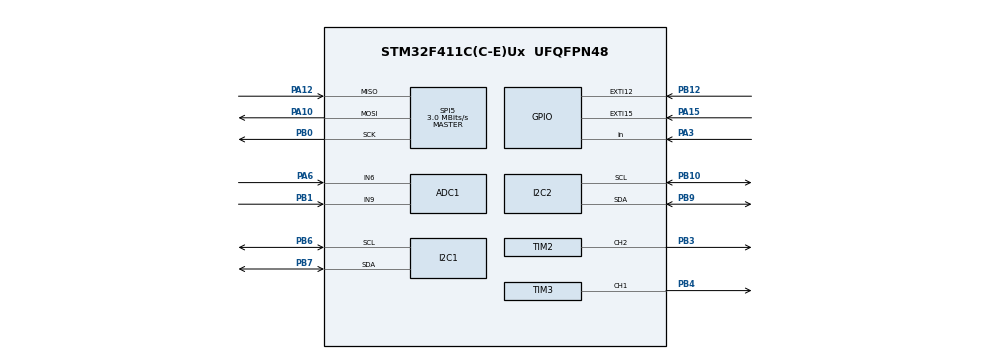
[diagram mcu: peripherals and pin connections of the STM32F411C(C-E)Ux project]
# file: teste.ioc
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ADC1.Channel-0\#ChannelRegularConversion=ADC_CHANNEL_9
ADC1.NbrOfConversionFlag=1
ADC1.Rank-0\#ChannelRegularConversion=1
ADC1.SamplingTime-0\#ChannelRegularConversion=ADC_SAMPLETIME_3CYCLES
ADC1.master=1
Mcu.Family=STM32F4
Mcu.Name=STM32F411C(C-E)Ux
Mcu.Package=UFQFPN48
NVIC.PriorityGroup=NVIC_PRIORITYGROUP_4
PA10.Mode=Full_Duplex_Master
PA10.Signal=SPI5_MOSI
PA12.Mode=Full_Duplex_Master
PA12.Signal=SPI5_MISO
PA13.Mode=Serial_Wire
PA13.Signal=SYS_JTMS-SWDIO
PA14.Mode=Serial_Wire
PA14.Signal=SYS_JTCK-SWCLK
PA15.Signal=GPXTI15
PA3.Signal=GPIO_Input
PA6.Signal=ADCx_IN6
PB0.Mode=Full_Duplex_Master
PB0.Signal=SPI5_SCK
PB1.Signal=ADCx_IN9
PB10.Mode=I2C
PB10.Signal=I2C2_SCL
PB12.Signal=GPXTI12
PB3.Signal=S_TIM2_CH2
PB4.Signal=S_TIM3_CH1
PB6.Mode=I2C
PB6.Signal=I2C1_SCL
PB7.Mode=I2C
PB7.Signal=I2C1_SDA
PB9.Mode=I2C
PB9.Signal=I2C2_SDA
PH0\ -\ OSC_IN.Mode=HSE-External-Oscillator
PH0\ -\ OSC_IN.Signal=RCC_OSC_IN
PH1\ -\ OSC_OUT.Mode=HSE-External-Oscillator
PH1\ -\ OSC_OUT.Signal=RCC_OSC_OUT
ProjectManager.HeapSize=0x200
ProjectManager.StackSize=0x400
ProjectManager.TargetToolchain=STM32CubeIDE
RCC.48MHZClocksFreq_Value=48000000
RCC.AHBCLKDivider=RCC_SYSCLK_DIV2
RCC.AHBFreq_Value=48000000
RCC.APB1Freq_Value=48000000
RCC.APB1TimFreq_Value=48000000
RCC.APB2Freq_Value=48000000
RCC.APB2TimFreq_Value=48000000
RCC.CortexFreq_Value=48000000
RCC.HCLKFreq_Value=48000000
RCC.HSE_VALUE=25000000
RCC.HSI_VALUE=16000000
RCC.LSE_VALUE=32768
RCC.PLLM=25
RCC.PLLSourceVirtual=RCC_PLLSOURCE_HSE
RCC.SYSCLKFreq_VALUE=96000000
RCC.SYSCLKSource=RCC_SYSCLKSOURCE_PLLCLK
RCC.VCOOutputFreq_Value=192000000
SH.ADCx_IN6.0=ADC1_IN6,IN6
SH.ADCx_IN9.0=ADC1_IN9,IN9
SH.S_TIM2_CH2.0=TIM2_CH2,PWM Generation2 CH2
SH.S_TIM3_CH1.0=TIM3_CH1,PWM Generation1 CH1
SPI5.BaudRatePrescaler=SPI_BAUDRATEPRESCALER_16
SPI5.CalculateBaudRate=3.0 MBits/s
SPI5.Direction=SPI_DIRECTION_2LINES
SPI5.Mode=SPI_MODE_MASTER
SPI5.VirtualType=VM_MASTER
TIM2.Channel-PWM\ Generation2\ CH2=TIM_CHANNEL_2
TIM2.Period=99
TIM2.Prescaler=4799
TIM3.Channel-PWM\ Generation1\ CH1=TIM_CHANNEL_1
TIM3.Period=99
TIM3.Prescaler=4799
VP_TIM2_VS_ClockSourceINT.Mode=Internal
VP_TIM3_VS_ClockSourceINT.Mode=Internal
board=custom

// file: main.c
/* USER CODE BEGIN Header */
/**
 ==========================================================================

		Projeto 2

		Disciplina: EA801- Laboratório Projetos Sistemas Embarcados

		Título do projeto:
		SISTEMA DE CONTROLE PWM PARA ILUMINAÇÃO
        LED E CLIMATIZAÇÃO EM AGRICULTURA INDOOR

		Alunos (RA):
		Davi Alves Feitosa de Souza (256447)
		Gabriel Martins De Andrade (216337)

		Docentes: Antônio Augusto Fasolo Quevedo

		Data: 16 de Maio, 2025

==========================================================================
  */
/* USER CODE END Header */
#include "main.h"  // Arquivo principal de cabeçalho do projeto

/* USER CODE BEGIN Includes */
#include <stdio.h>           // Biblioteca padrão para funções de entrada/saída
#include <string.h>          // Biblioteca padrão para manipulação de strings
#include "ssd1306.h"         // Biblioteca para controle do display OLED SSD1306
#include "ssd1306_fonts.h"   // Fontes utilizadas no display OLED
#include "stdio.h"           // Repetição desnecessária, mas sem prejuízo funcional
#include "ssd1306_conf.h"    // Configurações específicas do SSD1306
#include "core_cm4.h"        // Instruções de controle para ARM Cortex-M4
#include "stm32f4xx_hal_dma.h" // Biblioteca da HAL para uso de DMA com STM32F4
#include "ws2812_spi.h"      // Biblioteca personalizada para controle dos LEDs WS2812 via SPI
/* USER CODE END Includes */

/* USER CODE BEGIN PTD */
// Tipos definidos pelo usuário (nenhum declarado neste trecho)
/* USER CODE END PTD */

/* USER CODE BEGIN PD */
#define NUM_LEDS     25   // Número total de LEDs WS2812 na matriz
#define DEBOUNCE_MS  5    // Tempo de debounce para botões, em milissegundos
/* USER CODE END PD */

/* USER CODE BEGIN PM */
// Macros definidos pelo usuário (nenhum declarado neste trecho)
/* USER CODE END PM */

ADC_HandleTypeDef hadc1;    // Manipulador do ADC1

I2C_HandleTypeDef hi2c1;    // Manipulador da interface I2C1 (usada pelo display OLED)
I2C_HandleTypeDef hi2c2;    // Manipulador da interface I2C2 (possível uso para sensor)

SPI_HandleTypeDef hspi5;    // Manipulador da interface SPI5 (usada com WS2812)

TIM_HandleTypeDef htim2;    // Manipulador do temporizador 2
TIM_HandleTypeDef htim3;    // Manipulador do temporizador 3

/* USER CODE BEGIN PV */

// Buffer para armazenar as últimas leituras do sensor SHT-20
static float sht_temp, sht_hum;

// Matriz de cores dos LEDs WS2812, no formato GRB
static uint8_t ws2812_rgb[ NUM_LEDS ][3];

// Níveis de intensidade luminosa em % do LED mapeado em: 0%, 10%, 35%, 70%, 100%)
static const uint8_t intensity_levels[5] = { 0, 10, 35, 70, 100 };

static const uint8_t compositions[4][3] = {
  {30, 40, 30},	// White     = 40%R, 30%G, 30%B
  { 0, 55, 45},	// Pink      = 55%R,  0%G, 45%B
  {10, 88,  2},	// Red+Green = 88%R, 10%G,  2%B
  { 1,  1,  1} 	// Full spectrum (todos iguais) = 100%R, 100%G, 100%B
};

static uint8_t intensity_idx   = 2;  // Índice atual da intensidade (35%)
static uint8_t composition_idx = 3;  // Índice atual da composição (Full)

// Flags para indicar se os botões A e B foram pressionados
static uint8_t btnA_pressed = 0;
static uint8_t btnB_pressed = 0;

// Variáveis para leitura com debounce do botão A
static GPIO_PinState lastRawA = GPIO_PIN_RESET;
static uint32_t      lastDebounceTimeA = 0;

// Variáveis para leitura com debounce do botão B
static GPIO_PinState lastRawB = GPIO_PIN_RESET;
static uint32_t      lastDebounceTimeB = 0;

// Estado da interface de usuário (UI)
static uint8_t display_page    = 0;        // Página atual do display (0 = Home, 1 = Debug)
static GPIO_PinState lastRawSw = GPIO_PIN_RESET;
static uint32_t      lastDebounceTimeSw = 0;
static uint8_t       sw_pressed  = 0;      // Flag para pressionamento do joystick/switch

// Offsets para simulação de temperatura e umidade
static int8_t temp_offset  = 0;            // Offset da temperatura (-25 a +25)
static int8_t hum_offset   = 0;            // Offset da umidade (-50 a +50)

// Rótulos de texto para os níveis de intensidade exibidos no display
static const char *intensity_labels[5] = {
  "Desligado", "Minimo", "Medio", "Alto", "Maximo"
};

// Rótulos de texto para as composições de cor exibidas no display
static const char *composition_labels[4] = {
  "White", "Pink", "Red+Green", "Full"
};

/* USER CODE END PV */

/* USER CODE BEGIN PFP */
static void MX_I2C1_Init(void);         // Inicialização do barramento I2C1
void SystemClock_Config(void);          // Configuração do clock do sistema
static void MX_GPIO_Init(void);         // Inicialização dos pinos GPIO
static void MX_ADC1_Init(void);         // Inicialização do conversor analógico-digital
static void MX_TIM3_Init(void);         // Inicialização do timer 3
static void MX_I2C2_Init(void);         // Inicialização do barramento I2C2
static void MX_SPI5_Init(void);         // Inicialização da interface SPI5
static void MX_TIM2_Init(void);         // Inicialização do timer 2
static void check_switch(void);         // Função para verificar estado do botão joystick
static void update_offsets(void);       // Atualiza os offsets de temperatura e umidade
static void display_home(void);         // Atualiza a interface da página Home
static void update_matrix(void);        // Atualiza a matriz de LEDs com base nos índices ativos
/* USER CODE END PFP */

/* USER CODE BEGIN 0 */

/* Função ler_adc() ----------------------------------------------------------------------

Objetivo: Verifica o estado dos botões A (PB12) e B (PA15), aplicando
          debounce e atualizando índices globais conforme cliques.

Como funciona:
 	1. Cria e configura a estrutura sConfig com o canal desejado.
 	2. Define o tempo de amostragem (15 ciclos de clock).
 	3. Inicia a conversão ADC.
 	4. Aguarda a conversão ser concluída.
 	5. Lê o valor digital convertido.
 	6. Para a conversão e retorna o valor lido.

Uso: Lê sensores analógicos (joystick, potenciômetro etc.)

 -----------------------------------------------------------------------------------------*/

uint32_t ler_adc(uint32_t canal)
{
    ADC_ChannelConfTypeDef sConfig = {0};  // Estrutura de configuração do canal ADC
    sConfig.Channel = canal;               // Seleciona o canal desejado
    sConfig.Rank = 1;                      // Define a prioridade de conversão
    sConfig.SamplingTime = ADC_SAMPLETIME_15CYCLES; // Tempo de amostragem do ADC
    HAL_ADC_ConfigChannel(&hadc1, &sConfig); // Aplica a configuração no ADC

    HAL_ADC_Start(&hadc1);                  // Inicia a conversão
    HAL_ADC_PollForConversion(&hadc1, HAL_MAX_DELAY); // Espera a conversão terminar (sem timeout)
    uint32_t valor = HAL_ADC_GetValue(&hadc1); // Lê o valor convertido
    HAL_ADC_Stop(&hadc1);                   // Para o ADC

    return valor;                           // Retorna o valor lido
}

/* Função set_fan_duty() ------------------------------------------------------------------

Objetivo: Define o valor do duty cycle (ciclo de trabalho) para um canal
		  PWM de um timer, limitando o valor a 99%.

Como funciona:
 	1. Garante que o valor de duty não ultrapasse 99.
 	2. Usa a macro __HAL_TIM_SET_COMPARE() para ajustar o sinal PWM no canal indicado.

Uso: Controla a velocidade de uma ventoinha ou motor com PWM.

 -----------------------------------------------------------------------------------------*/

void set_fan_duty(TIM_HandleTypeDef *htim, uint32_t channel, uint8_t duty)
{
    if (duty > 99) duty = 99;  // Limita o duty cycle a 99%
    __HAL_TIM_SET_COMPARE(htim, channel, duty);  // Define o duty cycle no canal PWM
}

/* Função atualizar_ventoinhas() ---------------------------------------------------------

Objetivo: Atualiza a velocidade das ventoinhas com base nas
 	 	  leituras dos eixos X e Y de um joystick.

Como funciona:
 	1. Lê os valores analógicos dos canais ADC associados ao joystick.
 	2. Define uma margem de tolerância para evitar oscilações em torno do centro.
	3. Para cada eixo: Se o valor estiver acima da margem, diminui o duty
	   (e, portanto, reduz a velocidade da ventoinha). Se abaixo, aumenta o duty.
	4. Chama set_fan_duty() para aplicar a mudança.

Uso: Controla duas ventoinhas conforme a inclinação
	 do joystick (X → ventoinha 1; Y → ventoinha 2).

 -----------------------------------------------------------------------------------------*/

void atualizar_ventoinhas(uint8_t *duty_x, uint8_t *duty_y)
{
    int MARGEM = 450;  // Margem de tolerância para movimentação do joystick

    uint32_t adc_x = ler_adc(ADC_CHANNEL_6);  // Lê valor do eixo X (PA6)
    uint32_t adc_y = ler_adc(ADC_CHANNEL_9);  // Lê valor do eixo Y (PB1)

    // Controle do eixo X → PB0 (TIM3 CH3)
    if (adc_x > (2048 + MARGEM) && *duty_x > 0)
    {
        (*duty_x)--;  // Diminui o duty se o joystick for para a direita
        set_fan_duty(&htim2, TIM_CHANNEL_2, *duty_x);
        HAL_Delay(2); // Pequeno delay para estabilidade
    }
    else if (adc_x < (2048 - MARGEM) && *duty_x < 99)
    {
        (*duty_x)++;  // Aumenta o duty se o joystick for para a esquerda
        set_fan_duty(&htim2, TIM_CHANNEL_2, *duty_x);
        HAL_Delay(2);
    }

    // Controle do eixo Y → PB4 (TIM3 CH1)
    if (adc_y > (2048 + MARGEM) && *duty_y > 0)
    {
        (*duty_y)--;  // Diminui o duty se o joystick for para cima
        set_fan_duty(&htim3, TIM_CHANNEL_1, *duty_y);
        HAL_Delay(2);
    }
    else if (adc_y < (2048 - MARGEM) && *duty_y < 99)
    {
        (*duty_y)++;  // Aumenta o duty se o joystick for para baixo
        set_fan_duty(&htim3, TIM_CHANNEL_1, *duty_y);
        HAL_Delay(2);
    }
}

/* Função atualizar_display_completo() ---------------------------------------------------------

Objetivo: Atualiza todas as informações mostradas no display OLED (SSD1306).

Como funciona:
 	1. Limpa a tela (ssd1306_Fill(Black)).
 	2. Escreve:
 		2.1 Percentual de PWM das ventoinhas (linha 0);
 		2.2 Estados dos botões A e B (linha 12);
 		2.3 Valores RGB da matriz de LEDs (linha 24);
 		2.4 Índices de composição e intensidade de cor (linha 36);
 		2.5 Temperatura e umidade do sensor SHT20 (linha 48).
	3. Atualiza o display

Uso: Exibe status em tempo real dos atuadores e sensores no sistema.

 -----------------------------------------------------------------------------------------*/

static void atualizar_display_completo(uint8_t duty1,
                                       uint8_t duty2,
                                       uint8_t btnA,
                                       uint8_t btnB,
                                       uint8_t G,
                                       uint8_t R,
                                       uint8_t B)
{
    char buf[32];
    ssd1306_Fill(Black);  // Limpa a tela do display

    // Exibe porcentagens das ventoinhas (duty1 e duty2)
    uint8_t pct1 = (duty1 * 100) / 99;
    uint8_t pct2 = (duty2 * 100) / 99;
    snprintf(buf, sizeof(buf), "V1:%3d%% V2:%3d%%", pct1, pct2);
    ssd1306_SetCursor(0, 0);
    ssd1306_WriteString(buf, Font_7x10, White);

    // Exibe estados dos botões A e B
    snprintf(buf, sizeof(buf), "A/B:%d/%d", btnA, btnB);
    ssd1306_SetCursor(0, 12);
    ssd1306_WriteString(buf, Font_7x10, White);

    // Exibe valores RGB atuais
    snprintf(buf, sizeof(buf), "GRB:[%3d,%3d,%3d]", G, R, B);
    ssd1306_SetCursor(0, 24);
    ssd1306_WriteString(buf, Font_7x10, White);

    // Exibe índices de composição e intensidade
    snprintf(buf, sizeof(buf), "C:%u I:%u", composition_idx, intensity_idx);
    ssd1306_SetCursor(0, 36);
    ssd1306_WriteString(buf, Font_7x10, White);

    // Exibe temperatura e umidade do sensor SHT-20
    snprintf(buf, sizeof(buf),
             "S T:%2.1fC H:%2.1f%%",
             sht_temp, sht_hum);
    ssd1306_SetCursor(0, 48);
    ssd1306_WriteString(buf, Font_7x10, White);

    ssd1306_UpdateScreen();  // Atualiza o display com o novo conteúdo
}

/* Função check_buttons() ---------------------------------------------------------

Objetivo: Verifica o estado dos botões A (PB12) e B (PA15),
 	 	  aplicando debounce e atualizando índices globais conforme cliques.

Como funciona:
 	1. Lê o estado atual dos botões.
 	2. Verifica se houve mudança (para aplicar debounce).
 	3. Se o botão A foi pressionado: Incrementa o índice de intensidade e atualiza a matriz
 	4. Se o botão B foi pressionado: Incrementa o índice de composição e atualiza a matriz

Uso: Muda configurações da matriz RGB com os botões físicos.

 -----------------------------------------------------------------------------------------*/

static void check_buttons(void)
{
    uint32_t now = HAL_GetTick();  // Obtém o tempo atual do sistema

    // --- BOTÃO A ---
    GPIO_PinState rawA = HAL_GPIO_ReadPin(GPIOB, GPIO_PIN_12);  // Lê o estado do botão A
    if (rawA != lastRawA) {  // Detecta mudança de estado (possível bounce)
        lastDebounceTimeA = now;
        lastRawA = rawA;
    }
    if ((now - lastDebounceTimeA) > DEBOUNCE_MS) {  // Verifica se passou tempo suficiente para considerar o estado estável
        if (rawA == GPIO_PIN_RESET && !btnA_pressed) {
            btnA_pressed = 1;
            intensity_idx = (intensity_idx + 1) % 5;  // Muda índice de intensidade
            update_matrix();  // Atualiza matriz de LED
        } else if (rawA == GPIO_PIN_SET) {
            btnA_pressed = 0;  // Reseta flag de botão solto
        }
    }

    // --- BOTÃO B ---
    GPIO_PinState rawB = HAL_GPIO_ReadPin(GPIOA, GPIO_PIN_15);  // Lê o estado do botão B
    if (rawB != lastRawB) {
        lastDebounceTimeB = now;
        lastRawB = rawB;
    }
    if ((now - lastDebounceTimeB) > DEBOUNCE_MS) {
        if (rawB == GPIO_PIN_RESET && !btnB_pressed) {
            btnB_pressed = 1;
            composition_idx = (composition_idx + 1) % 4;  // Muda índice de composição
            update_matrix();
        } else if (rawB == GPIO_PIN_SET) {
            btnB_pressed = 0;
        }
    }
}

/* Função update_matrix() ---------------------------------------------------------

Objetivo: Atualizar a matriz de LEDs WS2812 com a cor correta e intensidade adequada

Como funciona:
 	1. Reinicializa o hardware da fita de LEDs, preparando o sistema para enviar dados novos
 	2. Calcula a intensidade da luz com base no índice atual de intensidade
 	3. Converte um valor percentual em um valor entre 0 e 255 para controle da luminosidade
 	4. Obtém a composição de cores selecionada (valores de verde, vermelho e azul)
 	5. Determina o maior valor para normalizar as componentes de cor proporcionalmente
 	   garantindo que a intensidade máxima seja mantida
 	6. Atualiza o array que representa as cores de cada LED na fita e configura
 	   todos os LEDs a mesma cor com os valores normalizados de G, R e B.

Uso: Escreve todos os pixels com a cor definida e envia os dados via SPI para a fita de LEDs,
 	 atualizando a iluminação visualmente.

 -----------------------------------------------------------------------------------------*/

static void update_matrix(void)
{
    // Inicializa o hardware da fita de LEDs WS2812 (reset + preparação)
    ws2812_init();

    // Calcula a intensidade da luz convertendo percentual em valor 0-255
    uint8_t I = (intensity_levels[intensity_idx] * 255 + 50) / 100;

    // Pega o ponteiro para o array da composição atual de cores (G, R, B)
    const uint8_t *comp = compositions[composition_idx];

    // Determina o maior valor da composição para normalizar as cores
    uint8_t max_pct = comp[0];
    if (comp[1] > max_pct) max_pct = comp[1];
    if (comp[2] > max_pct) max_pct = comp[2];

    // Normaliza a cor verde proporcionalmente à intensidade e ao maior valor
    uint8_t G = (uint32_t)comp[0] * I / max_pct;
    // Normaliza a cor vermelha proporcionalmente à intensidade e ao maior valor
    uint8_t R = (uint32_t)comp[1] * I / max_pct;
    // Normaliza a cor azul proporcionalmente à intensidade e ao maior valor
    uint8_t B = (uint32_t)comp[2] * I / max_pct;

    // Atualiza todos os LEDs no array de cor para a composição calculada
    for (int i = 0; i < NUM_LEDS; i++) {
        ws2812_rgb[i][0] = G; // verde
        ws2812_rgb[i][1] = R; // vermelho
        ws2812_rgb[i][2] = B; // azul
    }

    // Envia a cor para todos os pixels da fita via SPI
    ws2812_pixel_all(R, G, B);

    // Dispara o envio dos dados para os LEDs
    ws2812_send_spi();
}

/* Função check_switch() ---------------------------------------------------------

Objetivo: Implementa o debouncing do botão conectado ao pino PA3, para evitar
 	 	  leituras falsas devido ao ruído elétrico causado pelo contato mecânico do botão.
 	 	  Além disso ela troca de página do display

Como funciona:
 	1. Captura o tempo atual em milissegundos e lê o estado do pino do botão
 	2. Compara com o último estado lido para detectar mudanças
 	3. Caso haja uma mudança no estado do botão, ela atualiza o tempo do
 	   último evento de mudança para controlar o atraso necessário para o debouncing
 	4. Se o tempo decorrido desde a última mudança ultrapassa o intervalo de debounce definido:
 		4.1 Verifica se o botão foi pressionado ou solto
 		4.2 Alterna a página do display quando o botão é detectado como pressionado.

Uso: Controla uma flag que indica se o botão está pressionado
     para evitar múltiplas alternâncias da tela causadas por leituras repetidas.

 -----------------------------------------------------------------------------------------*/

static void check_switch(void)
{
    // Obtém o tempo atual em ms do sistema
    uint32_t now = HAL_GetTick();

    // Lê o estado atual do pino do botão
    GPIO_PinState raw = HAL_GPIO_ReadPin(GPIOA, GPIO_PIN_3);

    // Detecta mudança no estado do botão
    if (raw != lastRawSw) {
        // Atualiza o tempo da última mudança para controle de debounce
        lastDebounceTimeSw = now;
        // Atualiza o último estado bruto lido
        lastRawSw = raw;
    }

    // Verifica se passou o tempo de debounce desde a última mudança
    if ((now - lastDebounceTimeSw) > DEBOUNCE_MS) {
        // Se botão foi pressionado (nível baixo) e antes não estava pressionado
        if (raw == GPIO_PIN_RESET && !sw_pressed) {
            // Marca botão como pressionado
            sw_pressed = 1;
            // Alterna a página do display (de 0 para 1 ou vice-versa)
            display_page = 1 - display_page;
        }
        // Se botão está solto (nível alto), reseta flag de pressionado
        else if (raw == GPIO_PIN_SET) {
            sw_pressed = 0;
        }
    }
}

/* Função update_offsets() ---------------------------------------------------------

Objetivo: Ajusta os offsets de temperatura e umidade com base no movimento do joystick

Como funciona:
 	1. Define os valores médios e zona morta (deadzone) para os eixos X e Y do joystick,
 	   para evitar ajustes constantes com pequenas variações
 	2. No eixo Y, referente ao ajuste da temperatura:
 	 	2.1 Lê o valor ADC e, se estiver acima ou abaixo da zona morta, incrementa
 	 	  	ou decrementa o offset da temperatura,  respeitando limites mínimos e
 	 	  	máximos para evitar valores fora da faixa
 	 	2.2 Calcula a temperatura final ajustada somando o offset à leitura do sensor,
 	 	    limitando seu valor entre 15°C e 40°C, para evitar leituras inválidas.
 	3. No eixo X, referente ao ajuste da umidade:
 		3.1  Lê o valor ADC, ajusta o offset dentro de limites, e calcula a umidade final
 		3.2  A umidade é limitada para ficar entre um duty cycle de 0% e 100%

Uso: Mapeia a temperatura e umidade final para um valor de duty cycle entre 0 e 100
 	 para controlar a velocidade da ventoinha associada ao canal PWM.

 -----------------------------------------------------------------------------------------*/

static void update_offsets(void)
{
    const int MID      = 2048;  // Valor central do ADC para joystick (12 bits)
    const int DEADZONE = 300;   // Zona morta para evitar pequenos ajustes

    // --- Temperatura (eixo Y - ADC_CHANNEL_9) ---
    // Lê valor do ADC no eixo Y do joystick
    uint32_t ay = ler_adc(ADC_CHANNEL_9);

    // Se inclinação para cima (acima da zona morta) e offset maior que limite inferior
    if (ay > (MID + DEADZONE) && temp_offset > -25) {
        temp_offset--; // Decrementa offset temperatura
    }
    // Se inclinação para baixo (abaixo da zona morta) e offset menor que limite superior
    else if (ay < (MID - DEADZONE) && temp_offset < +25) {
        temp_offset++; // Incrementa offset temperatura
    }

    // Garante que o offset fique dentro do intervalo permitido [-25, +25]
    if (temp_offset < -25) temp_offset = -25;
    if (temp_offset > +25) temp_offset = +25;

    // Calcula temperatura final somando o offset à leitura do sensor
    float temp_meas = sht_temp + temp_offset;

    // Limita a temperatura final para o intervalo [15°C, 40°C]
    if (temp_meas < 15.0f) temp_meas = 15.0f;
    if (temp_meas > 40.0f) temp_meas = 40.0f;

    // Mapeia temperatura [15..40] para duty cycle PWM [0..100]
    uint8_t duty_temp = (uint8_t)((temp_meas - 15.0f) * 100.0f / 25.0f);

    // Ajusta duty cycle da ventoinha associada ao canal 1 do temporizador 3
    set_fan_duty(&htim3, TIM_CHANNEL_1, duty_temp);

    // --- Umidade (eixo X - ADC_CHANNEL_6) ---
    // Lê valor do ADC no eixo X do joystick
    uint32_t ax = ler_adc(ADC_CHANNEL_6);

    // Se inclinação para a direita e offset maior que limite inferior
    if (ax > (MID + DEADZONE) && hum_offset > -50) {
        hum_offset--; // Decrementa offset umidade
    }
    // Se inclinação para a esquerda e offset menor que limite superior
    else if (ax < (MID - DEADZONE) && hum_offset < +50) {
        hum_offset++; // Incrementa offset umidade
    }

    // Limita o offset de umidade dentro de [-50, +50]
    if (hum_offset < -50) hum_offset = -50;
    if (hum_offset > +50) hum_offset = +50;

    // Calcula umidade final somando o offset à leitura do sensor
    float hum_meas = sht_hum + hum_offset;

    // Limita umidade final para intervalo válido [0%, 100%]
    if (hum_meas <  0.0f) hum_meas =  0.0f;
    if (hum_meas >100.0f) hum_meas =100.0f;

    // Converte umidade para duty cycle PWM diretamente (0..100)
    uint8_t duty_hum = (uint8_t)(hum_meas);

    // Ajusta duty cycle da ventoinha associada ao canal 2 do temporizador 2
    set_fan_duty(&htim2, TIM_CHANNEL_2, duty_hum);
}

/* Função display_home() ---------------------------------------------------------

Objetivo: Desenhar na tela OLED e exibe valores de temperatura, umidade, intensidade e composição da luz.

Como funciona:
 	1. Limpa a tela e prepara o buffer para montagem das strings de texto.
 	2. Calcula a temperatura final aplicando o offset e garantindo que
 	   esteja no intervalo aceitável de 15°C a 40°C
 	3. Exibe a temperatura no formato “sensor + offset = final” na primeira linha da tela
 	4. De forma semelhante, calcula e exibe a umidade final com o offset aplicado,
 	   garantindo o intervalo de 0% a 100%, na linha seguinte
 	5. Exibe a intensidade da luz, com a descrição textual conforme o índice selecionado.
 	6. Exibe a composição da cor atual da luz também baseada no índice.

Uso: Atualiza a tela OLED para mostrar todos os dados formatados e organizados.

 -----------------------------------------------------------------------------------------*/

static void display_home(void)
{
    char buf[32];                     // Buffer para armazenar as strings que serão exibidas no display
    ssd1306_Fill(Black);             // Limpa a tela do display preenchendo com a cor preta

    // --- Temperatura ---
    float temp_final = sht_temp + temp_offset; // Aplica o offset de calibração na temperatura medida
    if (temp_final < 15.0f) temp_final = 15.0f; // Limita o valor mínimo a 15 °C
    if (temp_final > 40.0f) temp_final = 40.0f; // Limita o valor máximo a 40 °C
    snprintf(buf, sizeof(buf),               // Formata a string: sensor + offset = resultado final
             "Tmp:%2.1f%+d=%2.1fC",
             sht_temp,
             temp_offset,
             temp_final);
    ssd1306_SetCursor(0,  0);                // Define a posição para exibir a string (linha 0)
    ssd1306_WriteString(buf, Font_7x10, White); // Escreve a string com fonte 7x10 na cor branca

    // --- Umidade ---
    float hum_final = sht_hum + hum_offset; // Aplica o offset de calibração na umidade medida
    if (hum_final <  0.0f) hum_final =  0.0f; // Limita o valor mínimo a 0%
    if (hum_final >100.0f) hum_final =100.0f; // Limita o valor máximo a 100%
    snprintf(buf, sizeof(buf),               // Formata a string: sensor + offset = resultado final
             "Umd:%2.1f%+d=%2.1f%%",
             sht_hum,
             hum_offset,
             hum_final);
    ssd1306_SetCursor(0, 12);                // Define a posição para exibir a string (linha 12)
    ssd1306_WriteString(buf, Font_7x10, White); // Escreve a string no display

    // --- Intensidade da luz ---
    snprintf(buf, sizeof(buf), "Intens:%s",     // Pega o rótulo correspondente ao índice atual de intensidade
             intensity_labels[intensity_idx]);
    ssd1306_SetCursor(0, 24);                   // Linha 24
    ssd1306_WriteString(buf, Font_7x10, White); // Exibe a intensidade

    // --- Composição do espectro ---
    snprintf(buf, sizeof(buf), "Comp:%s",       // Pega o rótulo correspondente ao índice atual de composição
             composition_labels[composition_idx]);
    ssd1306_SetCursor(0, 36);                   // Linha 36
    ssd1306_WriteString(buf, Font_7x10, White); // Exibe a composição do espectro

    ssd1306_UpdateScreen();                     // Atualiza o display com o conteúdo do buffer
}

/* Função SHT20_ReadTemperature() ---------------------------------------------------------

Objetivo: Realiza a leitura da temperatura do sensor SHT20 via protocolo I2C

Como funciona:
 	1. Envia o comando de medição de temperatura no modo “no-hold” ao sensor,
 	   utilizando o endereço I2C e comando apropriado
 	2. Aguarda o tempo necessário para a conversão da medida (~85 ms)
 	3. Recebe os dados da temperatura bruta enviados pelo sensor em três bytes
 	4. Calcula a temperatura real usando a fórmula fornecida no datasheet do sensor
 		4.1 Verifica se o botão foi pressionado ou solto
 		4.2 Alterna a página do display quando o botão é detectado como pressionado.

Uso: Coleta o dado enviado pelo sensor e retorna o valor da temperatura em ponto flutuante

 -----------------------------------------------------------------------------------------*/

static float SHT20_ReadTemperature(void)
{
    uint8_t cmd = 0xF3; // Comando para iniciar leitura de temperatura no modo "no hold"
    HAL_I2C_Master_Transmit(&hi2c1, 0x40<<1, &cmd, 1, HAL_MAX_DELAY); // Envia comando ao sensor no endereço 0x40
    HAL_Delay(85);       // Aguarda tempo de conversão (~85 ms, conforme datasheet do SHT20)

    uint8_t data[3];     // Buffer para receber os 2 bytes de dados + 1 byte de checksum (opcional)
    HAL_I2C_Master_Receive(&hi2c1, 0x40<<1, data, 3, HAL_MAX_DELAY); // Lê os dados do sensor via I2C

    uint16_t raw = (data[0]<<8) | data[1]; // Junta os dois primeiros bytes em um valor bruto de 16 bits

    // Converte o valor bruto para temperatura em Celsius, conforme fórmula do datasheet:
    return -46.85f + 175.72f * raw / 65536.0f;
}

/* Função SHT20_ReadHumidity() ---------------------------------------------------------

Objetivo: Realiza a leitura da umidade relativa do sensor SHT20 via protocolo I2C.

Como funciona:
 	1. Envia o comando de medição de umidade no modo “no-hold” ao sensor,
 	   usando o endereço I2C e comando adequado.
 	2. Aguarda o tempo necessário para a conversão da medida (~29 ms)
 	3. Recebe os dados brutos de umidade em três bytes do sensor,
 	   que transforma o valor bruto em porcentagem de umidade
 	4. Calcula a umidade relativa em porcentagem usando a fórmula oficial do datasheet

Uso: Coleta o dado enviado pelo sensor e retorna o valor da umidade relativa como um float..

 -----------------------------------------------------------------------------------------*/

static float SHT20_ReadHumidity(void)
{
    uint8_t cmd = 0xF5; // Comando para iniciar leitura de umidade no modo "no hold"
    HAL_I2C_Master_Transmit(&hi2c1, 0x40<<1, &cmd, 1, HAL_MAX_DELAY); // Envia comando ao sensor

    HAL_Delay(29);      // Aguarda tempo de conversão (~29 ms para umidade)

    uint8_t data[3];    // Buffer para os dados recebidos
    HAL_I2C_Master_Receive(&hi2c1, 0x40<<1, data, 3, HAL_MAX_DELAY); // Lê os dados via I2C

    uint16_t raw = (data[0]<<8) | data[1]; // Concatena os dois bytes principais da leitura

    // Converte para umidade relativa (%) conforme fórmula do datasheet:
    return -6.0f + 125.0f * raw / 65536.0f;
}

* USER CODE END 0 */

int main(void)
{

  /* USER CODE BEGIN 1 */
  // Habilita o contador de ciclos do DWT (Data Watchpoint and Trace) — útil para criar atrasos com precisão sub-microsegundos
  CoreDebug->DEMCR   |= CoreDebug_DEMCR_TRCENA_Msk;
  DWT->CTRL         |= DWT_CTRL_CYCCNTENA_Msk;
  /* USER CODE END 1 */

  /* MCU Configuration--------------------------------------------------------*/

  // Reset de todos os periféricos, inicializa a interface Flash e o Systick (temporizador do sistema)
  HAL_Init();

  /* USER CODE BEGIN Init */
  // Espaço reservado para inicializações personalizadas antes da configuração do sistema
  /* USER CODE END Init */

  // Configuração do clock do sistema
  SystemClock_Config();

  /* USER CODE BEGIN SysInit */
  // Espaço reservado para configurações do sistema antes da inicialização dos periféricos
  /* USER CODE END SysInit */

  // Inicializa todos os periféricos configurados no CubeMX
  MX_GPIO_Init();
  MX_ADC1_Init();
  MX_TIM3_Init();
  MX_I2C2_Init();
  MX_SPI5_Init();
  MX_TIM2_Init();
  MX_I2C1_Init();

  /* USER CODE BEGIN 2 */

  // Inicia geração de sinal PWM para controle das ventoinhas nas portas PB3 (X) e PB4 (Y)
  HAL_TIM_PWM_Start(&htim3, TIM_CHANNEL_1);  // Ventoinha no eixo Y
  HAL_TIM_PWM_Start(&htim2, TIM_CHANNEL_2);  // Ventoinha no eixo X

  // Inicializa o display OLED SSD1306
  ssd1306_Init();

  // Inicializa os LEDs WS2812 (RGB), limpando o buffer e enviando sinal de reset
  ws2812_init();

  // Atualiza a matriz de LEDs com cor e intensidade iniciais
  update_matrix();

  // Define o duty cycle inicial das ventoinhas para 50% (metade da velocidade máxima)
  uint8_t duty_x = 50;
  uint8_t duty_y = 50;

  // Aplica o duty cycle nas ventoinhas
  set_fan_duty(&htim2, TIM_CHANNEL_2, duty_x); // Ventoinha X
  set_fan_duty(&htim3, TIM_CHANNEL_1, duty_y); // Ventoinha Y

  /* USER CODE END 2 */

  /* Infinite loop */
  /* USER CODE BEGIN WHILE */
  while (1)
  {
	    // Atualiza a velocidade das ventoinhas com base no joystick
	    atualizar_ventoinhas(&duty_x, &duty_y);

	    // Verifica os botões A e B para mudar cor/intensidade dos LEDs
	    check_buttons();

	    // Verifica o interruptor (PA3) para trocar entre as telas de exibição
	    check_switch();

	    if (display_page == 0) {
	        // Atualiza os offsets de temperatura e umidade
	        update_offsets();

	        // Lê os valores de temperatura e umidade do sensor SHT20
	        sht_temp = SHT20_ReadTemperature();
	        sht_hum  = SHT20_ReadHumidity();

	        // Mostra os dados principais na tela "home"
	        display_home();
	    }
	    else {
	    	// Atualiza novamente as ventoinhas (controle ativo apenas na tela de debug)
	    	atualizar_ventoinhas(&duty_x, &duty_y);

	        // Atualiza a tela de debug com dados detalhados
	        atualizar_display_completo(
	            duty_x,             // Duty cycle da ventoinha X
	            duty_y,             // Duty cycle da ventoinha Y
	            btnA_pressed,       // Estado do botão A
	            btnB_pressed,       // Estado do botão B
	            ws2812_rgb[0][0],   // Valor do canal R do LED
	            ws2812_rgb[0][1],   // Valor do canal G do LED
	            ws2812_rgb[0][2]    // Valor do canal B do LED
	        );
	    }
    /* USER CODE END WHILE */

  }
}

* @brief Configuração do Clock do Sistema
* @retval Nenhum
*/
void SystemClock_Config(void)
{
// Estruturas para configurar os osciladores e os clocks do sistema
RCC_OscInitTypeDef RCC_OscInitStruct = {0};
RCC_ClkInitTypeDef RCC_ClkInitStruct = {0};

// Habilita o clock do controlador de energia
__HAL_RCC_PWR_CLK_ENABLE();

// Configura a escala de voltagem do regulador interno
__HAL_PWR_VOLTAGESCALING_CONFIG(PWR_REGULATOR_VOLTAGE_SCALE1);

// Inicialização do oscilador:
RCC_OscInitStruct.OscillatorType = RCC_OSCILLATORTYPE_HSE;
RCC_OscInitStruct.HSEState = RCC_HSE_ON;
RCC_OscInitStruct.PLL.PLLState = RCC_PLL_ON;
RCC_OscInitStruct.PLL.PLLSource = RCC_PLLSOURCE_HSE;
RCC_OscInitStruct.PLL.PLLM = 25;
RCC_OscInitStruct.PLL.PLLN = 192;
RCC_OscInitStruct.PLL.PLLP = RCC_PLLP_DIV2;
RCC_OscInitStruct.PLL.PLLQ = 4;

// Aplica a configuração do oscilador
if (HAL_RCC_OscConfig(&RCC_OscInitStruct) != HAL_OK)
{
  // Se ocorrer erro, chama função de tratamento
  Error_Handler();
}

// Configuração dos clocks para os barramentos AHB, APB1 e APB2:
RCC_ClkInitStruct.ClockType = RCC_CLOCKTYPE_HCLK | RCC_CLOCKTYPE_SYSCLK
                            | RCC_CLOCKTYPE_PCLK1 | RCC_CLOCKTYPE_PCLK2; // Define quais clocks serão configurados
RCC_ClkInitStruct.SYSCLKSource = RCC_SYSCLKSOURCE_PLLCLK;
RCC_ClkInitStruct.AHBCLKDivider = RCC_SYSCLK_DIV2;
RCC_ClkInitStruct.APB1CLKDivider = RCC_HCLK_DIV1;
RCC_ClkInitStruct.APB2CLKDivider = RCC_HCLK_DIV1;

// Aplica a configuração dos clocks
if (HAL_RCC_ClockConfig(&RCC_ClkInitStruct, FLASH_LATENCY_1) != HAL_OK)
{
  // Se ocorrer erro, chama função de tratamento
  Error_Handler();
}
}

/**
  * @brief Função de Inicialização do ADC1
  * @param Nenhum
  * @retval Nenhum
  */

static void MX_ADC1_Init(void)
{

	  ADC_ChannelConfTypeDef sConfig = {0};

  /* Configura as características gerais do ADC1 */
  hadc1.Instance = ADC1;
  hadc1.Init.ClockPrescaler = ADC_CLOCK_SYNC_PCLK_DIV2;
  hadc1.Init.Resolution = ADC_RESOLUTION_12B;
  hadc1.Init.ScanConvMode = DISABLE;
  hadc1.Init.ContinuousConvMode = DISABLE;
  hadc1.Init.DiscontinuousConvMode = DISABLE;
  hadc1.Init.ExternalTrigConvEdge = ADC_EXTERNALTRIGCONVEDGE_NONE;
  hadc1.Init.ExternalTrigConv = ADC_SOFTWARE_START;
  hadc1.Init.DataAlign = ADC_DATAALIGN_RIGHT;
  hadc1.Init.NbrOfConversion = 1;
  hadc1.Init.DMAContinuousRequests = DISABLE;
  hadc1.Init.EOCSelection = ADC_EOC_SINGLE_CONV;

  if (HAL_ADC_Init(&hadc1) != HAL_OK)
  {
    Error_Handler(); // Trata erro na inicialização do ADC
  }

  /* Configura o canal do ADC a ser usado */
  sConfig.Channel = ADC_CHANNEL_9;
  sConfig.Rank = 1;
  sConfig.SamplingTime = ADC_SAMPLETIME_3CYCLES;

  if (HAL_ADC_ConfigChannel(&hadc1, &sConfig) != HAL_OK)
  {
    Error_Handler(); // Trata erro de configuração do canal
  }
}

static void MX_I2C1_Init(void)
{

  // Define que usará a interface I2C1
  hi2c1.Instance = I2C1;

  // Configura a velocidade de clock I2C (100 kHz — modo padrão)
  hi2c1.Init.ClockSpeed = 100000;

  // Define a razão cíclica duty cycle (aplicável em modo rápido — aqui fixado em 2)
  hi2c1.Init.DutyCycle = I2C_DUTYCYCLE_2;

  // Endereço primário do dispositivo (usado apenas em modo escravo)
  hi2c1.Init.OwnAddress1 = 0;

  // Usa endereçamento de 7 bits (comum na maioria dos dispositivos I2C)
  hi2c1.Init.AddressingMode = I2C_ADDRESSINGMODE_7BIT;

  // Desativa o uso de segundo endereço escravo (modo dual)
  hi2c1.Init.DualAddressMode = I2C_DUALADDRESS_DISABLE;

  // Segundo endereço (não usado pois modo dual está desabilitado)
  hi2c1.Init.OwnAddress2 = 0;

  // Desativa o modo "general call" (endereçamento coletivo de todos os escravos)
  hi2c1.Init.GeneralCallMode = I2C_GENERALCALL_DISABLE;

  // Permite o "clock stretching" (esticar o clock quando o escravo estiver ocupado)
  hi2c1.Init.NoStretchMode = I2C_NOSTRETCH_DISABLE;

  // Inicializa o periférico I2C1 com as configurações acima
  if (HAL_I2C_Init(&hi2c1) != HAL_OK)
  {
    // Se falhar na inicialização, chama o manipulador de erro
    Error_Handler();
  }

}

static void MX_I2C2_Init(void)
{

  // Define que usará a interface I2C2
  hi2c2.Instance = I2C2;

  // Configura a velocidade de clock I2C (100 kHz — modo padrão)
  hi2c2.Init.ClockSpeed = 100000;

  // Define a razão cíclica duty cycle (aplicável em modo rápido — aqui fixado em 2)
  hi2c2.Init.DutyCycle = I2C_DUTYCYCLE_2;

  // Endereço primário do dispositivo (usado apenas em modo escravo)
  hi2c2.Init.OwnAddress1 = 0;

  // Usa endereçamento de 7 bits
  hi2c2.Init.AddressingMode = I2C_ADDRESSINGMODE_7BIT;

  // Desativa o uso de segundo endereço escravo (modo dual)
  hi2c2.Init.DualAddressMode = I2C_DUALADDRESS_DISABLE;

  // Segundo endereço (não usado pois modo dual está desabilitado)
  hi2c2.Init.OwnAddress2 = 0;

  // Desativa o modo "general call"
  hi2c2.Init.GeneralCallMode = I2C_GENERALCALL_DISABLE;

  // Permite "clock stretching"
  hi2c2.Init.NoStretchMode = I2C_NOSTRETCH_DISABLE;

  // Inicializa o periférico I2C2 com as configurações acima
  if (HAL_I2C_Init(&hi2c2) != HAL_OK)
  {
    // Se falhar na inicialização, chama o manipulador de erro
    Error_Handler();
  }

}

static void MX_SPI5_Init(void)
{

  /* SPI5 parameter configuration*/
  hspi5.Instance = SPI5;
  hspi5.Init.Mode = SPI_MODE_MASTER;
  hspi5.Init.Direction = SPI_DIRECTION_2LINES;
  hspi5.Init.DataSize = SPI_DATASIZE_8BIT;
  hspi5.Init.CLKPolarity = SPI_POLARITY_LOW;
  hspi5.Init.CLKPhase = SPI_PHASE_1EDGE;
  hspi5.Init.NSS = SPI_NSS_SOFT;
  hspi5.Init.BaudRatePrescaler = SPI_BAUDRATEPRESCALER_16;
  hspi5.Init.FirstBit = SPI_FIRSTBIT_MSB;
  hspi5.Init.TIMode = SPI_TIMODE_DISABLE;
  hspi5.Init.CRCCalculation = SPI_CRCCALCULATION_DISABLE;
  hspi5.Init.CRCPolynomial = 10;
  if (HAL_SPI_Init(&hspi5) != HAL_OK)
  {
    Error_Handler();
  }

}

static void MX_SPI5_Init(void)
{

  /* Configuração dos parâmetros do SPI5 */
  hspi5.Instance = SPI5;                        // Seleciona a instância SPI5 do hardware
  hspi5.Init.Mode = SPI_MODE_MASTER;           // Define o SPI como mestre
  hspi5.Init.Direction = SPI_DIRECTION_2LINES; // Comunicação full-duplex com 2 linhas
  hspi5.Init.DataSize = SPI_DATASIZE_8BIT;     // Tamanho dos dados: 8 bits
  hspi5.Init.CLKPolarity = SPI_POLARITY_LOW;   // Polaridade do clock: nível baixo quando o clock está inativo
  hspi5.Init.CLKPhase = SPI_PHASE_1EDGE;       // Fase do clock: captura na primeira borda
  hspi5.Init.NSS = SPI_NSS_SOFT;                // NSS gerenciado por software
  hspi5.Init.BaudRatePrescaler = SPI_BAUDRATEPRESCALER_16; // Prescaler do clock do SPI (fator de divisão)
  hspi5.Init.FirstBit = SPI_FIRSTBIT_MSB;      // Primeiro bit enviado: bit mais significativo
  hspi5.Init.TIMode = SPI_TIMODE_DISABLE;      // Modo TI desabilitado (modo padrão SPI)
  hspi5.Init.CRCCalculation = SPI_CRCCALCULATION_DISABLE; // CRC desabilitado
  hspi5.Init.CRCPolynomial = 10;                // Polinômio CRC (não usado)

  /* Inicializa o SPI5 com os parâmetros configurados */
  if (HAL_SPI_Init(&hspi5) != HAL_OK)
  {
    /* Se falhar, chama a rotina de tratamento de erro */
    Error_Handler();
  }

}

static void MX_TIM2_Init(void)
{

  TIM_ClockConfigTypeDef sClockSourceConfig = {0};  // Configuração da fonte do clock do timer
  TIM_MasterConfigTypeDef sMasterConfig = {0};      // Configuração mestre/escravo do timer
  TIM_OC_InitTypeDef sConfigOC = {0};               // Configuração do modo PWM no canal do timer

  /* Configuração da instância TIM2 e parâmetros básicos */
  htim2.Instance = TIM2;
  htim2.Init.Prescaler = 4799;                      // Prescaler para dividir o clock (ex: se clk=48MHz, timer = 48MHz/(4799+1) = 10kHz)
  htim2.Init.CounterMode = TIM_COUNTERMODE_UP;
  htim2.Init.Period = 99;                            // Valor de auto-reload (periodo do timer = 100 ciclos do timer)
  htim2.Init.ClockDivision = TIM_CLOCKDIVISION_DIV1;// Sem divisão do clock do timer
  htim2.Init.AutoReloadPreload = TIM_AUTORELOAD_PRELOAD_DISABLE; // Atualização imediata do valor do período

  /* Inicializa a base do timer com os parâmetros configurados */
  if (HAL_TIM_Base_Init(&htim2) != HAL_OK)
  {
    Error_Handler();  // Tratamento de erro se falhar a inicialização do timer base
  }

  /* Configura a fonte do clock para o timer como clock interno */
  sClockSourceConfig.ClockSource = TIM_CLOCKSOURCE_INTERNAL;
  if (HAL_TIM_ConfigClockSource(&htim2, &sClockSourceConfig) != HAL_OK)
  {
    Error_Handler();  // Tratamento de erro se falhar a configuração do clock
  }

  /* Inicializa o timer para modo PWM */
  if (HAL_TIM_PWM_Init(&htim2) != HAL_OK)
  {
    Error_Handler();  // Tratamento de erro se falhar a inicialização do PWM
  }

  /* Configurações do modo mestre do timer (desabilitado neste caso) */
  sMasterConfig.MasterOutputTrigger = TIM_TRGO_RESET;
  sMasterConfig.MasterSlaveMode = TIM_MASTERSLAVEMODE_DISABLE;
  if (HAL_TIMEx_MasterConfigSynchronization(&htim2, &sMasterConfig) != HAL_OK)
  {
    Error_Handler();  // Tratamento de erro se falhar a sincronização mestre
  }

  /* Configura o canal 2 para modo PWM */
  sConfigOC.OCMode = TIM_OCMODE_PWM1;           // Modo PWM tipo 1 (nível alto até o pulso)
  sConfigOC.Pulse = 0;
  sConfigOC.OCPolarity = TIM_OCPOLARITY_HIGH;
  sConfigOC.OCFastMode = TIM_OCFAST_DISABLE;
  if (HAL_TIM_PWM_ConfigChannel(&htim2, &sConfigOC, TIM_CHANNEL_2) != HAL_OK)
  {
    Error_Handler();  // Tratamento de erro se falhar a configuração do canal PWM
  }

  /* Configura os GPIOs relacionados ao timer para modo alternativo PWM */
  HAL_TIM_MspPostInit(&htim2);
}

static void MX_TIM3_Init(void)
{

  //Estruturas de configuração
  TIM_ClockConfigTypeDef sClockSourceConfig = {0};
  TIM_MasterConfigTypeDef sMasterConfig = {0};
  TIM_OC_InitTypeDef sConfigOC = {0};

  htim3.Instance = TIM3;                              // Seleciona o timer 3 para configuração
  htim3.Init.Prescaler = 4799;                        // Prescaler: divide a frequência do clock do timer por 4800 (4799 + 1)
  htim3.Init.CounterMode = TIM_COUNTERMODE_UP;        // Contagem crescente (de 0 até o valor do período)
  htim3.Init.Period = 99;                             // Valor máximo de contagem antes de reiniciar (timer period)
  htim3.Init.ClockDivision = TIM_CLOCKDIVISION_DIV1; // Sem divisão do clock do timer
  htim3.Init.AutoReloadPreload = TIM_AUTORELOAD_PRELOAD_DISABLE; // Atualização imediata do valor do auto-reload

  // Inicializa a base do timer com as configurações acima
  if (HAL_TIM_Base_Init(&htim3) != HAL_OK)
  {
    Error_Handler();  // Tratamento de erro caso a inicialização falhe
  }

  // Configura o clock do timer para usar a fonte interna
  sClockSourceConfig.ClockSource = TIM_CLOCKSOURCE_INTERNAL;
  if (HAL_TIM_ConfigClockSource(&htim3, &sClockSourceConfig) != HAL_OK)
  {
    Error_Handler();  // Tratamento de erro caso a configuração falhe
  }

  // Inicializa o timer para funcionar em modo PWM
  if (HAL_TIM_PWM_Init(&htim3) != HAL_OK)
  {
    Error_Handler();  // Tratamento de erro caso a inicialização falhe
  }

  // Configurações para sincronização do timer (modo mestre)
  sMasterConfig.MasterOutputTrigger = TIM_TRGO_RESET;  // Nenhum trigger especial de saída
  sMasterConfig.MasterSlaveMode = TIM_MASTERSLAVEMODE_DISABLE; // Modo mestre/escravo desabilitado

  if (HAL_TIMEx_MasterConfigSynchronization(&htim3, &sMasterConfig) != HAL_OK)
  {
    Error_Handler();  // Tratamento de erro caso a configuração falhe
  }

  // Configuração do canal PWM
  sConfigOC.OCMode = TIM_OCMODE_PWM1;             // Modo PWM tipo 1
  sConfigOC.Pulse = 0;
  sConfigOC.OCPolarity = TIM_OCPOLARITY_HIGH;
  sConfigOC.OCFastMode = TIM_OCFAST_DISABLE;

  // Configura o canal 1 do timer com a configuração PWM acima
  if (HAL_TIM_PWM_ConfigChannel(&htim3, &sConfigOC, TIM_CHANNEL_1) != HAL_OK)
  {
    Error_Handler();  // Tratamento de erro caso a configuração falhe
  }

  /* USER CODE BEGIN TIM3_Init 2 */
  HAL_TIM_MspPostInit(&htim3);                    // Inicialização adicional para o timer (GPIO e outros)
  /* USER CODE END TIM3_Init 2 */

  HAL_TIM_MspPostInit(&htim3);
}

static void MX_GPIO_Init(void)
{
  GPIO_InitTypeDef GPIO_InitStruct = {0};

  /* GPIO Ports Clock Enable */
  __HAL_RCC_GPIOH_CLK_ENABLE();  // Ativa o clock do GPIO porta H
  __HAL_RCC_GPIOA_CLK_ENABLE();  // Ativa o clock do GPIO porta A
  __HAL_RCC_GPIOB_CLK_ENABLE();  // Ativa o clock do GPIO porta B

  /*Configure PA3 (joystick switch) */
  GPIO_InitStruct.Pin  = GPIO_PIN_3;              // Seleciona o pino 3 da porta A
  GPIO_InitStruct.Mode = GPIO_MODE_INPUT;         // Configura como entrada digital
  GPIO_InitStruct.Pull = GPIO_PULLUP;             // Habilita resistor pull-up interno
  HAL_GPIO_Init(GPIOA, &GPIO_InitStruct);         // Inicializa o GPIOA pin 3 com essas configurações

  /*Configure PB12 (botão A) */
  GPIO_InitStruct.Pin  = GPIO_PIN_12;             // Seleciona o pino 12 da porta B
  GPIO_InitStruct.Mode = GPIO_MODE_INPUT;         // Configura como entrada digital
  GPIO_InitStruct.Pull = GPIO_PULLUP;             // Habilita resistor pull-up interno
  HAL_GPIO_Init(GPIOB, &GPIO_InitStruct);         // Inicializa o GPIOB pin 12 com essas configurações

  /*Configure PA15 (botão B) */
  GPIO_InitStruct.Pin  = GPIO_PIN_15;             // Seleciona o pino 15 da porta A
  GPIO_InitStruct.Mode = GPIO_MODE_INPUT;         // Configura como entrada digital
  GPIO_InitStruct.Pull = GPIO_PULLUP;             // Habilita resistor pull-up interno
  HAL_GPIO_Init(GPIOA, &GPIO_InitStruct);         // Inicializa o GPIOA pin 15 com essas configurações

  /* USER CODE BEGIN MX_GPIO_Init_2 */
  // --- Configuração dos pinos para I2C1 (PB6 = SCL, PB7 = SDA) ---
  __HAL_RCC_GPIOB_CLK_ENABLE();                    // Garante que o clock do GPIOB está ativo
  GPIO_InitStruct.Pin       = GPIO_PIN_6 | GPIO_PIN_7;  // Seleciona pinos 6 e 7 da porta B
  GPIO_InitStruct.Mode      = GPIO_MODE_AF_OD;    // Modo função alternativa Open-Drain (para I2C)
  GPIO_InitStruct.Pull      = GPIO_PULLUP;        // Resistor pull-up interno habilitado (necessário para I2C)
  GPIO_InitStruct.Speed     = GPIO_SPEED_FREQ_VERY_HIGH; // Alta velocidade para sinais I2C
  GPIO_InitStruct.Alternate = GPIO_AF4_I2C1;      // Função alternativa 4 para I2C1
  HAL_GPIO_Init(GPIOB, &GPIO_InitStruct);         // Inicializa GPIOB pinos 6 e 7 para I2C1
  /* USER CODE END MX_GPIO_Init_2 */
}

void Error_Handler(void)
{
  __disable_irq();
  while (1)
  {
  }
}
